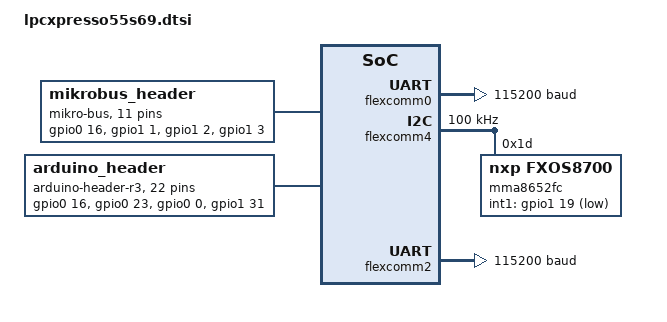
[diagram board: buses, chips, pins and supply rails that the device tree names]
/*
 * Copyright 2019,2024 NXP
 *
 * SPDX-License-Identifier: Apache-2.0
 */

#include "lpcxpresso55s69-pinctrl.dtsi"
#include <zephyr/dt-bindings/gpio/arduino-header-r3.h>

/ {
	aliases {
		led0 = &red_led;
		led1 = &green_led;
		led2 = &blue_led;
		spi-8 = &hs_lspi;
		usart-0 = &flexcomm0;
	};

	leds {
		compatible = "gpio-leds";

		green_led: led_1 {
			gpios = <&gpio1 7 GPIO_ACTIVE_LOW>;
			label = "User LD2";
			status = "disabled";
		};

		blue_led: led_2 {
			gpios = <&gpio1 4 GPIO_ACTIVE_LOW>;
			label = "User LD3";
			status = "disabled";
		};

		red_led: led_3 {
			gpios = <&gpio1 6 GPIO_ACTIVE_LOW>;
			label = "User LD4";
			status = "disabled";
		};
	};

	mikrobus_header: mikrobus-connector {
		compatible = "mikro-bus";
		#gpio-cells = <2>;
		gpio-map-mask = <0xffffffff 0xffffffc0>;
		gpio-map-pass-thru = <0 0x3f>;
		gpio-map = <0 0 &gpio0 16 0>,	/* AN  */
			   /* Not a GPIO*/		/* RST */
			   <2 0 &gpio1 1 0>,	/* CS   */
			   <3 0 &gpio1 2 0>,	/* SCK  */
			   <4 0 &gpio1 3 0>,	/* MISO */
			   <5 0 &gpio0 26 0>,	/* MOSI */
			   /* +3.3V */
			   /* GND */
			   <6 0 &gpio1 5 0>,	/* PWM  */
			   <7 0 &gpio1 18 0>,	/* INT  */
			   <8 0 &gpio1 24 0>,	/* RX   */
			   <9 0 &gpio0 27 0>,	/* TX   */
			   <10 0 &gpio1 20 0>,	/* SCL  */
			   <11 0 &gpio1 21 0>;	/* SDA  */
		/* +5V */
		/* GND */
	};

	arduino_header: arduino-connector {
		compatible = "arduino-header-r3";
		#gpio-cells = <2>;
		gpio-map-mask = <0xffffffff 0xffffffc0>;
		gpio-map-pass-thru = <0 0x3f>;
		gpio-map = <ARDUINO_HEADER_R3_A0 0 &gpio0 16 0>,
			   <ARDUINO_HEADER_R3_A1 0 &gpio0 23 0>,
			   <ARDUINO_HEADER_R3_A2 0 &gpio0 0 0>,
			   <ARDUINO_HEADER_R3_A3 0 &gpio1 31 0>,
			   <ARDUINO_HEADER_R3_A4 0 &gpio0 13 0>,
			   <ARDUINO_HEADER_R3_A5 0 &gpio0 14 0>,
			   <ARDUINO_HEADER_R3_D0 0 &gpio1 24 0>,
			   <ARDUINO_HEADER_R3_D1 0 &gpio0 27 0>,
			   <ARDUINO_HEADER_R3_D2 0 &gpio0 15 0>,
			   <ARDUINO_HEADER_R3_D3 0 &gpio1 6 0>,
			   <ARDUINO_HEADER_R3_D4 0 &gpio1 7 0>,
			   <ARDUINO_HEADER_R3_D5 0 &gpio1 4 0>,
			   <ARDUINO_HEADER_R3_D6 0 &gpio1 10 0>,
			   <ARDUINO_HEADER_R3_D7 0 &gpio1 9 0>,
			   <ARDUINO_HEADER_R3_D8 0 &gpio1 8 0>,
			   <ARDUINO_HEADER_R3_D9 0 &gpio1 5 0>,
			   <ARDUINO_HEADER_R3_D10 0 &gpio1 1 0>,
			   <ARDUINO_HEADER_R3_D11 0 &gpio0 26 0>,
			   <ARDUINO_HEADER_R3_D12 0 &gpio1 3 0>,
			   <ARDUINO_HEADER_R3_D13 0 &gpio1 2 0>,
			   <ARDUINO_HEADER_R3_D14 0 &gpio1 21 0>,
			   <ARDUINO_HEADER_R3_D15 0 &gpio1 20 0>;
	};

	reserved-memory {
		#address-cells = <1>;
		#size-cells = <1>;
		ranges;

		/* RAM split used by TFM */
		secure_ram: partition@20000000 {
			label = "secure-memory";
			reg = <0x20000000 DT_SIZE_K(136)>;
		};

		non_secure_ram: partition@20022000 {
			label = "non-secure-memory";
			reg = <0x20022000 DT_SIZE_K(136)>;
		};
	};
};

&flexcomm0 {
	compatible = "nxp,lpc-usart";
	current-speed = <115200>;
};

&flash0 {
	partitions {
		compatible = "fixed-partitions";
		#address-cells = <1>;
		#size-cells = <1>;

		boot_partition: partition@0 {
			label = "mcuboot";
			reg = <0x00000000 DT_SIZE_K(32)>;
			read-only;
		};

		slot0_partition: partition@8000 {
			label = "image-0";
			reg = <0x00008000 DT_SIZE_K(160)>;
		};

		slot0_ns_partition: partition@30000 {
			label = "image-0-nonsecure";
			reg = <0x00030000 DT_SIZE_K(96)>;
		};

		slot1_partition: partition@48000 {
			label = "image-1";
			reg = <0x00048000 DT_SIZE_K(160)>;
		};

		slot1_ns_partition: partition@70000 {
			label = "image-1-nonsecure";
			reg = <0x00070000 DT_SIZE_K(96)>;
		};

		/*
		 * The flash starting at 0x88000 and ending at
		 * 0x949FF is reserved for the application.
		 */
		storage_partition: partition@88000 {
			label = "storage";
			reg = <0x00088000 DT_SIZE_K(50)>;
		};
	};
};

arduino_i2c: &flexcomm4 {
	compatible = "nxp,lpc-i2c";
	clock-frequency = <I2C_BITRATE_STANDARD>;
	#address-cells = <1>;
	#size-cells = <0>;

	mma8652fc: mma8652fc@1d {
		compatible = "nxp,fxos8700", "nxp,mma8652fc";
		reg = <0x1d>;
		int1-gpios = <&gpio1 19 GPIO_ACTIVE_LOW>;
	};
};

arduino_serial: &flexcomm2 {
	compatible = "nxp,lpc-usart";
	current-speed = <115200>;
};

arduino_spi: &hs_lspi {};

arduino_gpio: &gpio1 {};

mikrobus_serial: &flexcomm2 {};

mikrobus_spi: &hs_lspi {};

&flexcomm0 {
	pinctrl-0 = <&pinmux_flexcomm0_usart>;
	pinctrl-names = "default";
};

&flexcomm2 {
	pinctrl-0 = <&pinmux_flexcomm2_usart>;
	pinctrl-names = "default";
};

&flexcomm4 {
	pinctrl-0 = <&pinmux_flexcomm4_i2c>;
	pinctrl-names = "default";
};

&flexcomm6 {
	pinctrl-0 = <&pinmux_flexcomm6_i2s>;
	pinctrl-names = "default";
};

&flexcomm7 {
	pinctrl-0 = <&pinmux_flexcomm7_i2s>;
	pinctrl-names = "default";
};

&hs_lspi {
	pinctrl-0 = <&pinmux_hs_lspi_default>;
	pinctrl-names = "default";
};

&sc_timer {
	pinctrl-0 = <&pinmux_sctimer_default>;
	pinctrl-names = "default";
};
